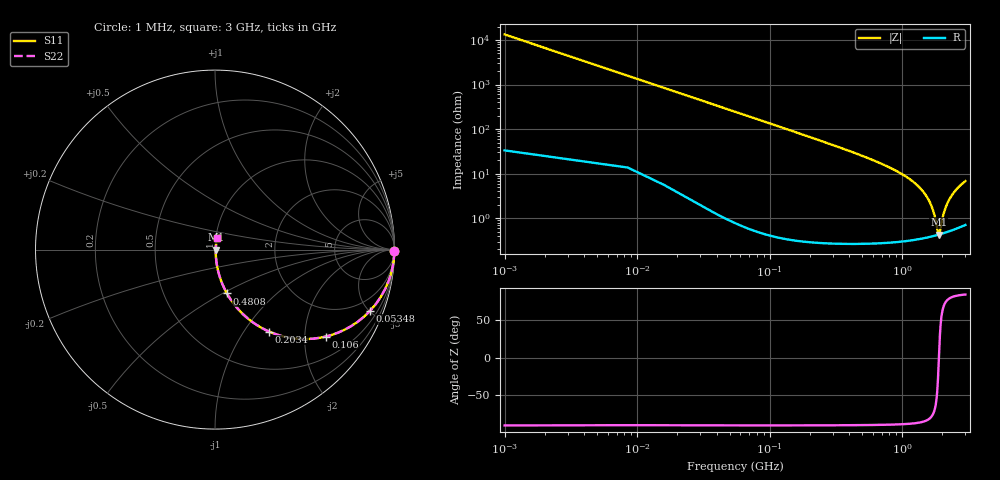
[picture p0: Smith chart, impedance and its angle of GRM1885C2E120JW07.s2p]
!Murata Part Number: GRM1885C2E120JW07
!These Parameters are Measured in Series Mode Connection
!Data Generated on Mar 30, 2021
!  o--ll--o
!Port1  Port2
!  o------o
!Operation Temp=25[degC], DC Bias Voltage=0[V]
!Freq. Start=1000[kHz] Stop=3[GHz] 401[Steps]
# Hz S RI R 50
!Freq.(Hz) S11(Real) S11(Imag) S21(Real) S21(Imag) S12(Real) S12(Imag) S22(Real) S22(Imag)
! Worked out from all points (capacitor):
!   401 points, 1 MHz to 3 GHz, reference 50 ohm
!   read as one part in series: C = 11.8 pF near 15.99 MHz
!   lowest |Z| = 431 mohm at 1.89 GHz (marker M1)
!   series resonance near 1.893 GHz, so ESL is about 600 pH
!   S11 on the Smith chart (normalised r, x): 1 MHz: open; 53.48 MHz: 1.02, -5.04; 106 MHz: 1.01, -2.54; 203.4 MHz: 1.01, -1.31; 480.8 MHz: 1.01, -0.53; 3 GHz: 1.01, +0.14
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1000000  0.9999 -0.00754  7.57e-05 0.00754  7.57e-05 0.00754  0.9999 -0.00754
2.34925e7  0.9697 -0.1689  0.0303 0.1689  0.0303 0.1689  0.9697 -0.1689
3.84875e7  0.9238 -0.2634  0.0762 0.2634  0.0762 0.2634  0.9238 -0.2634
5.34825e7  0.8632 -0.342  0.1368 0.342  0.1368 0.342  0.8632 -0.342
7.5975e7  0.7581 -0.4268  0.2419 0.4268  0.2419 0.4268  0.7581 -0.4268
1.05965e8  0.6168 -0.4846  0.3832 0.4846  0.3832 0.4846  0.6168 -0.4846
2.034325e8  0.3015 -0.4567  0.6985 0.4567  0.6985 0.4567  0.3015 -0.4567
3.15895e8  0.1487 -0.3526  0.8513 0.3526  0.8513 0.3526  0.1487 -0.3526
4.8084e8  0.0667 -0.2444  0.9333 0.2444  0.9333 0.2444  0.0667 -0.2444
5.033325e8  0.0607 -0.2334  0.9393 0.2334  0.9393 0.2334  0.0607 -0.2334
1.005665e9  0.0121 -0.0948  0.9879 0.0948  0.9879 0.0948  0.0121 -0.0948
1.5005e9  0.00472 -0.0331  0.9953 0.0331  0.9953 0.0331  0.00472 -0.0331
1.702932e9  0.00417 -0.015  0.9958 0.015  0.9958 0.015  0.00417 -0.015
1.777908e9  0.00416 -0.00887  0.9958 0.00887  0.9958 0.00887  0.00416 -0.00887
1.86038e9  0.00423 -0.00246  0.9958 0.00246  0.9958 0.00246  0.00423 -0.00246
1.89037e9  0.00429 -0.000197  0.9957 0.000197  0.9957 0.000197  0.00429 -0.000197
1.92036e9  0.00435 0.00203  0.9957 -0.00203  0.9957 -0.00203  0.00435 0.00203
2.002832e9  0.00457 0.00796  0.9954 -0.00796  0.9954 -0.00796  0.00457 0.00796
2.085305e9  0.00486 0.0137  0.9951 -0.0137  0.9951 -0.0137  0.00486 0.0137
2.197768e9  0.00537 0.0211  0.9946 -0.0211  0.9946 -0.0211  0.00537 0.0211
2.505165e9  0.00725 0.0399  0.9927 -0.0399  0.9927 -0.0399  0.00725 0.0399
3e9  0.0115 0.0666  0.9885 -0.0666  0.9885 -0.0666  0.0115 0.0666
